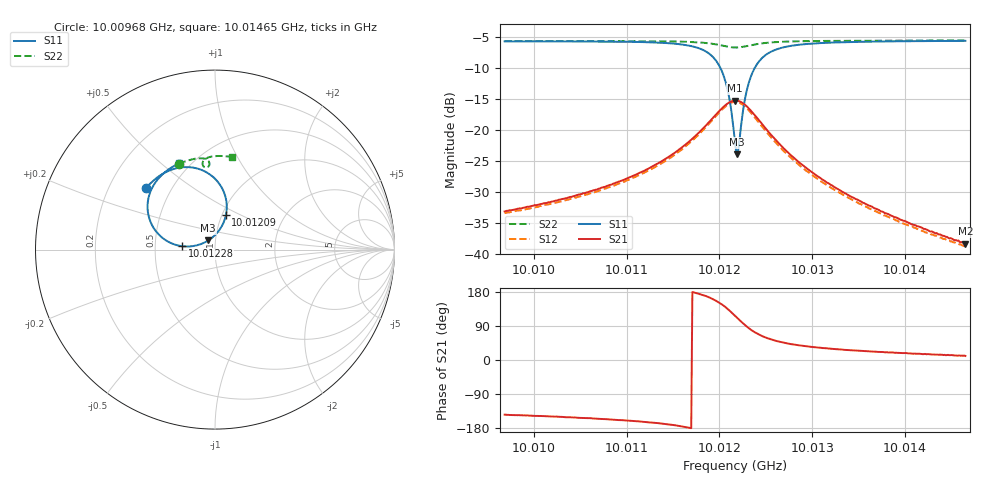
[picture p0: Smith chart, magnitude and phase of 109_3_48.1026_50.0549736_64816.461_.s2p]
#  HZ  S  RI  R  50.00
! Rohde & Schwarz Vector Network Analyzer
! Rohde-Schwarz,ZNB20-2Port,1311601062101988,3.16
! Created: UTC 12/23/2023, 3:45:34 AM
! freq[Hz]  re:S11  im:S11  re:S21  im:S21  re:S12  im:S12  re:S22  im:S22
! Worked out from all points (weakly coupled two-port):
!   401 points, 10.00968 GHz to 10.01465 GHz, reference 50 ohm
!   highest |S21| = -15.30 dB at 10.01217 GHz (marker M1); lowest = -38.4 dB at 10.01465 GHz (marker M2)
!   lowest |S11| = -24.0 dB at 10.01219 GHz (marker M3), VSWR 1.14, Z = 46.1 + j4.72 ohm
!   |S11| at or under -10 dB: 10.01201 GHz to 10.01238 GHz (373.7 kHz wide, 0.00373 % of centre)
!   |S22| runs from -6.7 to -5.6 dB; largest |S21 - S12| = 0.0084
!   S11 on the Smith chart (normalised r, x): 10.00968 GHz: 0.36, +0.34; 10.01209 GHz: 1.04, +0.42; 10.01228 GHz: 0.69, +0.03; 10.01465 GHz: 0.44, +0.57
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1.0009682e10  -0.3821 0.3458  -0.0177 -0.0128  -0.0165 -0.0133  -0.2007 0.4777
1.0010514e10  -0.3268 0.3979  -0.0269 -0.0138  -0.0254 -0.0146  -0.1483 0.4973
1.0010962e10  -0.2828 0.4268  -0.0366 -0.0141  -0.0347 -0.0151  -0.1176 0.5052
1.0011347e10  -0.2235 0.4511  -0.0527 -0.0124  -0.0501 -0.0142  -0.0886 0.5089
1.0011695e10  -0.1205 0.4567  -0.0829 -2.84e-05  -0.08 -0.00404  -0.0575 0.5065
1.0011881e10  -0.0214 0.4136  -0.1104 0.0274  -0.1085 0.0209  -0.0388 0.496
1.0012006e10  0.0517 0.3148  -0.124 0.0721  -0.1243 0.0641  -0.0307 0.4801
1.0012055e10  0.0653 0.2487  -0.1214 0.0973  -0.1226 0.0902  -0.0313 0.4716
1.0012093e10  0.0607 0.1914  -0.113 0.1182  -0.1153 0.1108  -0.0342 0.4654
1.001213e10  0.0389 0.1325  -0.098 0.1379  -0.101 0.1307  -0.0392 0.4604
1.0012167e10  -0.00178 0.079  -0.077 0.1535  -0.0806 0.1468  -0.046 0.4577
1.0012192e10  -0.0376 0.0509  -0.0607 0.1601  -0.0649 0.1536  -0.0509 0.4573
1.0012217e10  -0.078 0.0309  -0.0443 0.1632  -0.0481 0.1574  -0.0557 0.4583
1.0012279e10  -0.1824 0.0188  -0.00377 0.1579  -0.00891 0.1526  -0.0652 0.4654
1.0012316e10  -0.2372 0.0329  0.0159 0.1477  0.01 0.1427  -0.0683 0.4712
1.0012366e10  -0.2927 0.0653  0.0338 0.1305  0.0283 0.1263  -0.0694 0.4797
1.001249e10  -0.362 0.1615  0.0519 0.0898  0.0463 0.0877  -0.0632 0.4962
1.0012714e10  -0.3723 0.28  0.0485 0.048  0.044 0.0475  -0.0432 0.5114
1.0013e10  -0.3441 0.3554  0.0372 0.0256  0.0344 0.0258  -0.0191 0.5182
1.0013398e10  -0.3037 0.4083  0.0264 0.0129  0.0245 0.0137  0.0112 0.5215
1.0013833e10  -0.2653 0.4419  0.0193 0.00704  0.018 0.00776  0.0418 0.5213
1.0014653e10  -0.2015 0.4801  0.0118 0.00225  0.0112 0.00284  0.0965 0.5152
